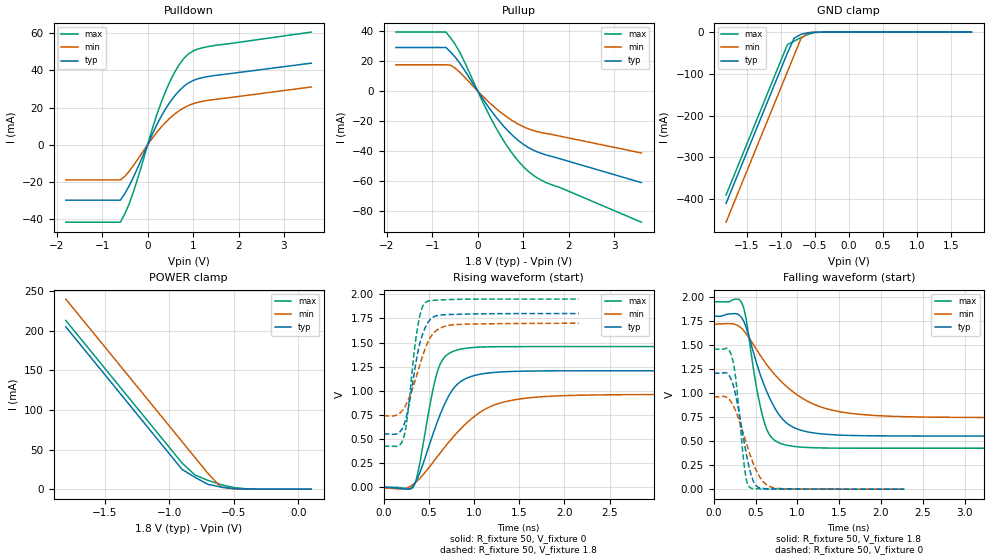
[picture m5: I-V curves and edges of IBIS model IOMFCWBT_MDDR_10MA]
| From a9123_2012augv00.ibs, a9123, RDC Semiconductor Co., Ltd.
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[Model]   IOMFCWBT_MDDR_10MA
|   IOMFCWBT_MDDR_10MA  MODEL
|   DATE   :  2007/12/26 ;
|   REVISION :  0.1.1 ;
|   Model generated   Wed Dec 26 21:16:35 2007
Model_type  I/O
Polarity   Non-Inverting
Enable   Active-Low
| Signals
Vinl = 0.54
Vinh = 1.26
Vmeas = 0.9
| variable   typ   min   max
C_comp   1.398pF   1.309pF   1.516pF
[Model Spec]
|   Subparameter   typ   min   max
Vinh   1.260   1.190   1.365
Vinl   0.540   0.510   0.585
Vmeas   0.900   0.850   0.975
[Temperature Range]   25   125   -40
|   typ   min   max
[Voltage Range]   1.8V   1.7V   1.95V
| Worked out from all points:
|   slope of the pulldown table from 0 to 0.27 V, typ, clamps not added: 19.4 ohm
|   slope of the pullup table from 0 to 0.27 V, typ, clamps not added: 22.6 ohm
|   GND clamp passes 1 mA (typ) near -0.56 V on its own axis
|   POWER clamp passes 1 mA (typ) near -0.51 V on its own axis
|   rising waveform, R_fixture 50, V_fixture 0: 20-80 % time 297ps typ, 566ps min, 177ps max; typ from 0.001 V to 1.21 V
|   falling waveform, R_fixture 50, V_fixture 1.8: 20-80 % time 326ps typ, 611ps min, 184ps max; typ from 1.8 V to 0.553 V
|   rising waveform, R_fixture 50, V_fixture 1.8: 20-80 % time 149ps typ, 207ps min, 111ps max; typ from 0.553 V to 1.8 V
|   falling waveform, R_fixture 50, V_fixture 0: 20-80 % time 154ps typ, 228ps min, 97.5ps max; typ from 1.21 V to 0 V
[Pulldown]
|   Voltage   I(typ)   I(min)   I(max)
-1.8V     -29.69mA   -18.84mA   -41.5mA
-600mV    -29.69mA   -18.84mA   -41.5mA
-400mV    -21.74mA   -13.97mA   -31.27mA
-300mV    -16.69mA   -10.63mA   -24.33mA
100mV     5.567mA    3.447mA    8.345mA
200mV     10.67mA    6.628mA    15.96mA
400mV     19.48mA    12.17mA    29mA
700mV     29.16mA    18.39mA    43.2mA
900mV     33.21mA    21.11mA    48.81mA
1.1V      35.37mA    22.78mA    51.33mA
1.4V      36.92mA    24.12mA    53mA
3.6V      43.83mA    31.03mA    60.48mA
[GND Clamp]
|   Voltage   I(typ)   I(min)   I(max)
-1.8V     -410mA     -455mA     -390mA
-900mV    -50mA      -95mA      -30mA
-800mV    -14.5mA    -55mA      -21.7mA
-700mV    -5.32mA    -15mA      -12.9mA
-600mV    -1.53mA    -2.04mA    -5.7mA
-500mV    -195uA     -140uA     -1.26mA
-400mV    -13.4uA    -9.78uA    -88.4uA
1.8V      0A         0A         0A
[Pullup]
|   Voltage   I(typ)   I(min)   I(max)
|( VDD-Vmeas )
-1.8V     29.01mA    17.5mA     39.27mA
-700mV    29.01mA    17.5mA     39.27mA
-600mV    26.09mA    17.27mA    35.51mA
-400mV    18.84mA    12.71mA    26.15mA
100mV     -4.604mA   -3.071mA   -6.55mA
400mV     -17.17mA   -11.48mA   -24.3mA
700mV     -27.53mA   -18.43mA   -38.95mA
1V        -35.3mA    -23.64mA   -50.12mA
1.2V      -38.92mA   -26.02mA   -55.48mA
1.5V      -42.41mA   -28.17mA   -60.76mA
1.8V      -44.91mA   -29.92mA   -64.01mA
3.6V      -60.85mA   -41.12mA   -87.19mA
[POWER Clamp]
|   Voltage   I(typ)   I(min)   I(max)
|( VDD-Vmeas )
-1.8V     205mA      240mA      213mA
-900mV    25mA       60mA       33mA
-800mV    14.9mA     40mA       17.9mA
-700mV    6.09mA     20mA       11.1mA
-600mV    2.68mA     2.56mA     5.76mA
-500mV    731uA      316uA      2.06mA
-400mV    105uA      45.9uA     387uA
100mV     0A         0A         0A
[Rising Waveform]
R_fixture = 50
V_fixture = 0
V_fixture_min = 0
V_fixture_max = 0
C_fixture = 0
L_fixture = 0
|   Time   V(typ)   V(min)   V(max)
0s        515.9uV    -7.442mV   -6.222uV
342ps     35.27mV    41.23mV    27.93mV
396ps     141.6mV    88.78mV    229.8mV
522ps     484mV      229.2mV    901.8mV
594ps     677.3mV    317mV      1.195V
666ps     843.5mV    403.9mV    1.339V
774ps     1.025V     525.9mV    1.41V
1.116ns   1.179V     805.3mV    1.454V
1.53ns    1.203V     918.2mV    1.458V
4.14ns    1.207V     961.4mV    1.458V
[Falling Waveform]
R_fixture = 50
V_fixture = 1.8
V_fixture_min = 1.7
V_fixture_max = 1.95
C_fixture = 0
L_fixture = 0
|   Time   V(typ)   V(min)   V(max)
0s        1.8V       1.715V     1.95V
342ps     1.774V     1.666V     1.924V
380ps     1.702V     1.627V     1.802V
494ps     1.365V     1.477V     1.146V
589ps     1.113V     1.351V     745.5mV
665ps     954.4mV    1.26V      568.5mV
798ps     755.2mV    1.128V     476.6mV
1.064ns   608.3mV    943.5mV    436.5mV
1.615ns   559.5mV    791.7mV    426.5mV
4.275ns   552.9mV    744.9mV    426mV
[Rising Waveform]
R_fixture = 50
V_fixture = 1.8
V_fixture_min = 1.7
V_fixture_max = 1.95
C_fixture = 0
L_fixture = 0
|   Time   V(typ)   V(min)   V(max)
0s        552.8mV    742mV      426.1mV
160ps     560.4mV    755.9mV    428.6mV
224ps     646.5mV    818.4mV    522.9mV
264ps     780.8mV    889mV      738.6mV
368ps     1.349V     1.167V     1.611V
416ps     1.544V     1.315V     1.832V
464ps     1.662V     1.448V     1.916V
560ps     1.769V     1.605V     1.938V
720ps     1.79V      1.677V     1.944V
2.16ns    1.8V       1.699V     1.95V
[Falling Waveform]
R_fixture = 50
V_fixture = 0
V_fixture_min = 0
V_fixture_max = 0
C_fixture = 0
L_fixture = 0
|   Time   V(typ)   V(min)   V(max)
0s        1.207V     960.9mV    1.458V
160ps     1.206V     953.3mV    1.465V
224ps     1.106V     883.5mV    1.355V
272ps     938.6mV    791.1mV    1.081V
368ps     466.2mV    538.1mV    218.5mV
400ps     318.9mV    449.1mV    64.8mV
432ps     196.3mV    364mV      17.79mV
520ps     26.42mV    173.8mV    3.695mV
720ps     2.733mV    13.85mV    1.132mV
2.28ns    6.082uV    108.8uV    174.1nV
[Ramp]
| variables   typ   min   max
dV/dt_r   0.72426/296.679p 0.576822/563.046p 0.87462/176.636p
dV/dt_f   0.748242/326.121p 0.573048/608.188p 0.9144/183.468p
R_load   = 50.000000 | Ohms
| [End Model]
